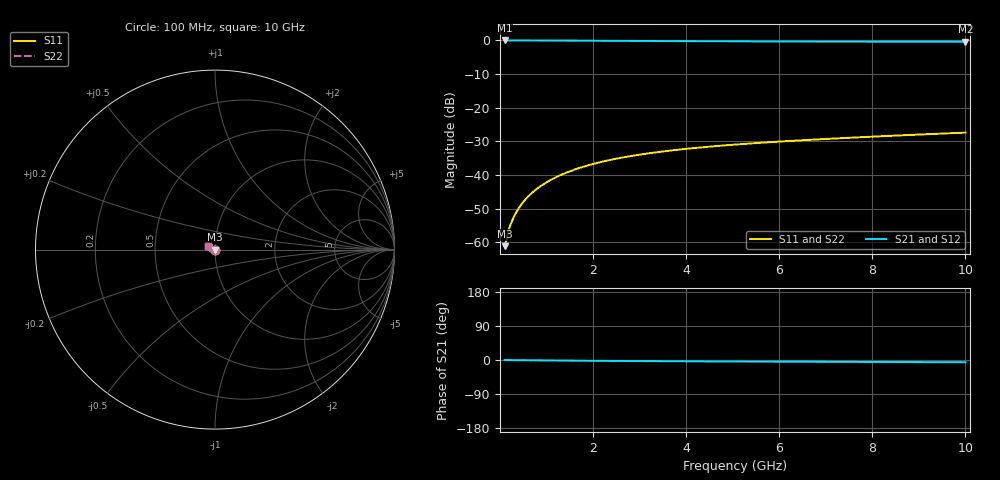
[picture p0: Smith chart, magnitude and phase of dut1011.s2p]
! Touchstone file exported from HFSS 2024.1.0
!  File:  C:/UserFiles/LocalFiles/RDL_TSV_Batchsim/temp_TSV1_1011_1780058875.aedt
!  Generated:  08:54:19 PM May 29, 2026
!  Design:  TSV1
!  Project:  temp_TSV1_1011_1780058875
!  Setup:  Setup1
!  Solution:  Sweep
! Variables:
!  dtsv = 6.37um
!  hbump = 3um
!  htsv = 91.83um
!  lrdl = 252.1521522um
!  p = 40
!  p1 = 46.91um
!  t = 500um
!  trdl = 3um
!  wrdl = 24.89489489um
# GHz S MA R 50.000000
! Terminal data exported
! Port[1] = TSV22_T1
! Port[2] = TSV22_T2
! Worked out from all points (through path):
!   100 points, 100 MHz to 10 GHz, reference 50 ohm
!   highest |S21| = 0.00 dB at 100 MHz (marker M1); lowest = -0.4 dB at 10 GHz (marker M2)
!   lowest |S11| = -61.2 dB at 100 MHz (marker M3), VSWR 1.00, Z = 50 - j0.0794 ohm
!   |S11| at or under -10 dB: start of sweep to end of sweep
!   |S22| runs from -61.2 to -27.4 dB; largest |S21 - S12| = 5.3e-15
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0.1  0.0008702 -65.7  0.9996 -0.1  0.9996 -0.1  0.0008702 -65.7
! Gamma 0 0 0 0
! Port Impedance 50 0 50 0
0.2  0.001625 -80.1  0.9995 -0.2  0.9995 -0.2  0.001625 -80.1
0.3  0.002402 -86.6  0.9993 -0.3  0.9993 -0.3  0.002402 -86.6
0.4  0.003181 -90.9  0.9991 -0.5  0.9991 -0.5  0.003181 -90.9
0.5  0.003959 -94.2  0.9989 -0.6  0.9989 -0.6  0.003959 -94.2
0.6  0.004731 -97.1  0.9986 -0.7  0.9986 -0.7  0.004731 -97.1
0.7  0.005498 -99.7  0.9983 -0.8  0.9983 -0.8  0.005498 -99.7
0.8  0.006257 -102.1  0.9979 -0.9  0.9979 -0.9  0.006257 -102.1
0.9  0.007008 -104.4  0.9974 -1.0  0.9974 -1.0  0.007008 -104.4
1.1  0.008481 -108.7  0.9964 -1.2  0.9964 -1.2  0.008481 -108.7
1.4  0.01061 -114.8  0.9947 -1.5  0.9947 -1.5  0.01061 -114.8
1.6  0.01196 -118.6  0.9934 -1.7  0.9934 -1.7  0.01196 -118.6
1.8  0.01327 -122.3  0.992 -1.9  0.992 -1.9  0.01327 -122.3
2.1  0.01513 -127.6  0.9898 -2.2  0.9898 -2.2  0.01513 -127.6
2.5  0.01742 -134.2  0.9869 -2.5  0.9869 -2.5  0.01742 -134.2
2.9  0.01951 -140.4  0.9839 -2.7  0.9839 -2.7  0.01951 -140.4
3.4  0.02187 -147.5  0.9804 -3.1  0.9804 -3.1  0.02187 -147.5
4.2  0.02518 -157.7  0.9753 -3.5  0.9753 -3.5  0.02518 -157.7
5.1  0.0284 -167.7  0.9705 -3.9  0.9705 -3.9  0.0284 -167.7
6.7  0.03336 177.6  0.9641 -4.6  0.9641 -4.6  0.03336 177.6
8.4  0.03815 165.3  0.9594 -5.3  0.9594 -5.3  0.03815 165.3
10  0.04253 155.8  0.9563 -6.0  0.9563 -6.0  0.04253 155.8
